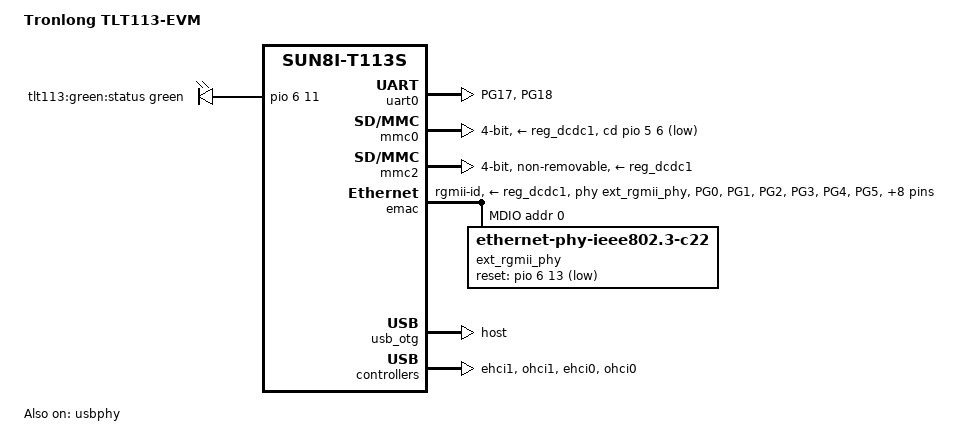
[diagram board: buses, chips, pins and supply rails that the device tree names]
// SPDX-License-Identifier: (GPL-2.0+ OR MIT)
/dts-v1/;

#include "sun8i-t113s.dtsi"
#include <dt-bindings/gpio/gpio.h>
#include <dt-bindings/leds/common.h>

/ {
	model = "Tronlong TLT113-EVM";
	compatible = "tronlong,tlt113-evm", "allwinner,sun8i-t113s", "allwinner,sun8i";

	aliases {
		serial0 = &uart0;
		ethernet0 = &emac;
		ethernet1 = &usbether; /* 对应板载 USB 网卡 SR9900 */
	};

	chosen {
		stdout-path = "serial0:115200n8";
	};

	leds {
		compatible = "gpio-leds";

		/* 原理图 Page 6: LED1 (Green) 由 Q5 驱动，连接到 PG11 */
		/* 注意：这是底板上的 LED，不是核心板上的 */
		led-0 {
			function = LED_FUNCTION_STATUS;
			color = <LED_COLOR_ID_GREEN>;
			label = "tlt113:green:status";
			gpios = <&pio 6 11 GPIO_ACTIVE_HIGH>; /* PG11 */
			linux,default-trigger = "heartbeat";
		};
	};
    
	/* 内存优化：禁用显示引擎以释放 CMA 内存 */
	display_engine: display-engine { status = "disabled"; };
};

/* --- 引脚定义 (Pinmux) --- */
&pio {
    /* 原理图 Page 5: UART0 使用 PG17(TX), PG18(RX) */
    uart0_pg_pins: uart0-pg-pins {
        pins = "PG17", "PG18";
        function = "uart0";
    };

    /* 原理图 Page 13: RGMII 数据引脚 */
    /* 注意：排除 PG11(LED) 和 PG13(Reset GPIO) */
    emac_rgmii_pins: emac-rgmii-pins {
        pins = "PG0", "PG1", "PG2", "PG3", "PG4", "PG5", "PG6",
               "PG7", "PG8", "PG9", "PG10", "PG12",
               "PG14", "PG15";
        function = "emac";
        drive-strength = <40>; /* 增强驱动能力，提高网络稳定性 */
    };
    
    /* 原理图 Page 7: SD卡检测引脚 PF6 */
    mmc0_cd_pin: mmc0-cd-pin {
        pins = "PF6";
        function = "gpio_in";
        bias-pull-up;
    };
};

/* --- 串口配置 --- */
&uart0 {
	pinctrl-names = "default";
	pinctrl-0 = <&uart0_pg_pins>;
	status = "okay";
};

/* --- SD 卡配置 (MMC0) --- */
/* 原理图 Page 7: PF0-PF5 数据/时钟，PF6 检测 */
&mmc0 {
	pinctrl-names = "default";
	pinctrl-0 = <&mmc0_pins>;
	vmmc-supply = <&reg_dcdc1>;
	bus-width = <4>;
	cd-gpios = <&pio 5 6 GPIO_ACTIVE_LOW>; /* PF6, Low有效 */
	status = "okay";
};

/* --- eMMC 配置 (MMC2) --- */
/* 核心板自带，与 SPI0 复用，默认开启 eMMC */
&mmc2 {
	pinctrl-names = "default";
	pinctrl-0 = <&mmc2_4bit_pins>;
	vmmc-supply = <&reg_dcdc1>;
	bus-width = <4>;
	non-removable;
	cap-mmc-hw-reset;
	status = "okay";
};

/* --- 以太网配置 (ETH0 - RGMII) --- */
/* 原理图 Page 13: YT8521SH-CA */
&emac {
	pinctrl-names = "default";
	pinctrl-0 = <&emac_rgmii_pins>;
	phy-mode = "rgmii-id"; /* 启用 PHY 内部时钟延迟 */
	phy-handle = <&ext_rgmii_phy>;
	phy-supply = <&reg_dcdc1>; 
	status = "okay";

	mdio {
		compatible = "snps,dwmac-mdio";
		#address-cells = <1>;
		#size-cells = <0>;

		ext_rgmii_phy: ethernet-phy@0 {
			compatible = "ethernet-phy-ieee802.3-c22";
			reg = <0>; /* PHY 地址 0 */
            
            /* 复位引脚: PG13 (原理图 Page 13 U15) */
            reset-gpios = <&pio 6 13 GPIO_ACTIVE_LOW>;
            reset-assert-us = <10000>;
            reset-deassert-us = <150000>;

            /* 裕太微 PHY 专用配置 */
			motorcomm,clk-out-frequency-hz = <125000000>;
            motorcomm,keep-pll-enabled;
            motorcomm,auto-sleep-disabled;
		};
	};
};

/* --- USB 配置 --- */
/* USB0: Type-C OTG (原理图 Page 5) */
&usb_otg {
	dr_mode = "host"; /* 默认做主机，可接鼠标/U盘 */
	status = "okay";
};

/* USB1: 连接板载 HUB (CH334H - 原理图 Page 16) */
/* SR9900 (ETH1) 和 USB Port A 都挂在这个控制器下 */
&ehci1 { status = "okay"; };
&ohci1 { status = "okay"; };

&usbphy { status = "okay"; };

/* 禁用不需要的模块 */
&ehci0 { status = "okay"; };
&ohci0 { status = "okay"; };
&tcon_tv0 { status = "disabled"; };
&tcon_lcd0 { status = "disabled"; };
